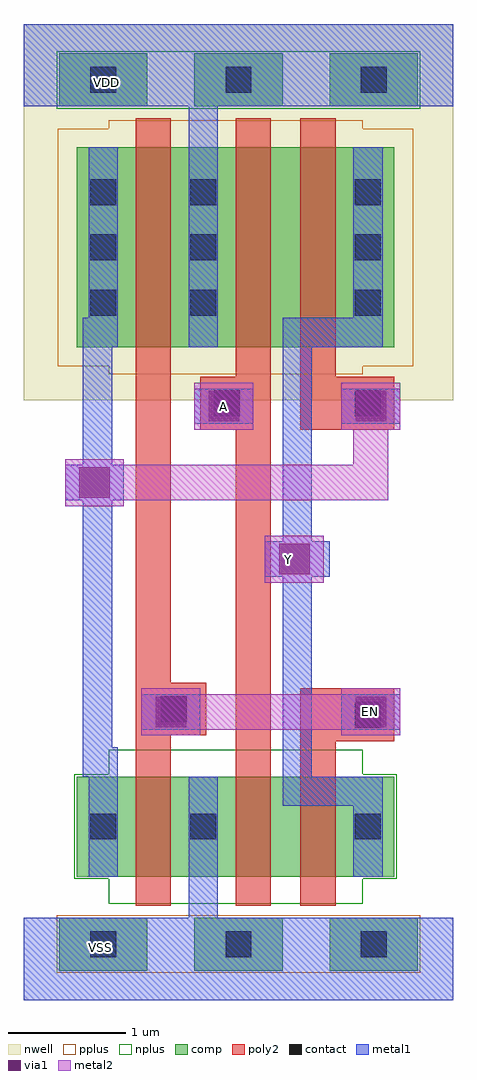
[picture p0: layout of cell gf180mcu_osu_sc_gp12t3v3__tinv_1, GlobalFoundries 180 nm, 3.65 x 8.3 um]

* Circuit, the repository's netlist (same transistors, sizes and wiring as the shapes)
* Copyright 2022 Google LLC
*
* Licensed under the Apache License, Version 2.0 (the "License");
* you may not use this file except in compliance with the License.
* You may obtain a copy of the License at
*
*      http://www.apache.org/licenses/LICENSE-2.0
*
* Unless required by applicable law or agreed to in writing, software
* distributed under the License is distributed on an "AS IS" BASIS,
* WITHOUT WARRANTIES OR CONDITIONS OF ANY KIND, either express or implied.
* See the License for the specific language governing permissions and
* limitations under the License.

* NGSPICE file created from gf180mcu_osu_sc_gp12t3v3__tinv_1.ext - technology: gf180mcuC

.subckt gf180mcu_osu_sc_gp12t3v3__tinv_1 A Y EN VDD VSS
X0 Y EN a_42_21# VSS nfet_03p3 w=0.85u l=0.3u
X1 Y a_9_21# a_42_111# VDD pfet_03p3 w=1.7u l=0.3u
X2 a_42_111# A VDD VDD pfet_03p3 w=1.7u l=0.3u
X3 VDD EN a_9_21# VDD pfet_03p3 w=1.7u l=0.3u
X4 VSS EN a_9_21# VSS nfet_03p3 w=0.85u l=0.3u
X5 a_42_21# A VSS VSS nfet_03p3 w=0.85u l=0.3u
.ends

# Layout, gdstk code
import gdstk
lib = gdstk.Library(unit=1e-6, precision=1e-09)
def R(c, l, rs):  # rectangles x0, y0, x1, y1
    for r in rs: c.add(gdstk.rectangle(r[:2], r[2:], *l))
def A(c, l, x, y, w, h, nx, ny, dx, dy):  # array of equal rectangles
    R(c, l, [(x+i*dx, y+j*dy, x+i*dx+w, y+j*dy+h) for i in range(nx) for j in range(ny)])
nwell = (21, 0)
comp = (22, 0)
poly2 = (30, 0)
pplus = (31, 0)
nplus = (32, 0)
contact = (33, 0)
metal1 = (34, 0)
via1 = (35, 0)
metal2 = (36, 0)

gf180mcu_osu_sc_gp12t3v3 = lib.new_cell('gf180mcu_osu_sc_gp12t3v3__tinv_1')
R(gf180mcu_osu_sc_gp12t3v3, nwell, [(0,5.1,3.65,8.3)])
A(gf180mcu_osu_sc_gp12t3v3, comp, 0.3, 0.25, 0.75, 0.45, 3, 2, 1.15, 7.35)
R(gf180mcu_osu_sc_gp12t3v3, comp, [(0.45,1.05,3.15,1.9), (0.45,5.55,3.15,7.25)])
R(gf180mcu_osu_sc_gp12t3v3, poly2, [(0.95,0.8,1.25,2.25), (1.8,0.8,2.1,4.85), (2.35,0.8,2.65,2.2), (2.35,2.2,3.15,2.65), (0.95,2.25,1.55,2.7), (0.95,2.7,1.25,7.5), (1.5,4.85,2.1,5.3), (2.35,4.85,3.15,5.3), (1.8,5.3,2.1,7.5), (2.35,5.3,2.65,7.5)])
R(gf180mcu_osu_sc_gp12t3v3, pplus, [(0.28,0.23,3.37,0.72), (0.72,5.32,2.88,5.39), (0.29,5.39,3.31,7.41), (0.72,7.41,2.88,7.48)])
R(gf180mcu_osu_sc_gp12t3v3, nplus, [(0.72,0.82,2.88,1.03), (0.43,1.03,3.17,1.92), (0.72,1.92,2.88,2.13), (0.28,7.58,3.37,8.07)])
A(gf180mcu_osu_sc_gp12t3v3, contact, 0.565, 0.365, 0.22, 0.22, 3, 2, 1.15, 7.35)
A(gf180mcu_osu_sc_gp12t3v3, contact, 0.565, 5.82, 0.22, 0.22, 1, 3, 0, 0.47)
A(gf180mcu_osu_sc_gp12t3v3, contact, 1.415, 5.82, 0.22, 0.22, 1, 3, 0, 0.47)
A(gf180mcu_osu_sc_gp12t3v3, contact, 2.815, 5.82, 0.22, 0.22, 1, 3, 0, 0.47)
R(gf180mcu_osu_sc_gp12t3v3, contact, [(0.565,1.365,0.785,1.585), (1.415,1.365,1.635,1.585), (2.815,1.365,3.035,1.585), (2.815,2.315,3.035,2.535), (1.165,2.365,1.385,2.585), (1.615,4.965,1.835,5.185), (2.815,4.965,3.035,5.185)])
R(gf180mcu_osu_sc_gp12t3v3, metal1, [(0,0,3.65,0.7), (1.4,0.7,1.65,1.9), (0.55,1.05,0.8,1.9), (2.8,1.05,3.05,1.65), (2.2,1.65,3.05,1.9), (0.5,1.9,0.8,2.15), (2.2,1.9,2.45,3.6), (0.5,2.15,0.75,4.25), (1,2.3,1.5,2.6), (2.7,2.3,3.2,2.6), (2.05,3.6,2.6,3.9), (2.2,3.9,2.45,5.55), (0.35,4.25,0.85,4.55), (0.5,4.55,0.75,5.55), (1.45,4.9,1.95,5.2), (2.7,4.9,3.2,5.2), (0.5,5.55,0.8,5.8), (1.4,5.55,1.65,7.6), (2.2,5.55,3.05,5.8), (0.55,5.8,0.8,7.25), (2.8,5.8,3.05,7.25), (0,7.6,3.65,8.3)])
R(gf180mcu_osu_sc_gp12t3v3, via1, [(1.12,2.32,1.38,2.58), (2.82,2.32,3.08,2.58), (2.17,3.62,2.43,3.88), (0.47,4.27,0.73,4.53), (1.57,4.92,1.83,5.18), (2.82,4.92,3.08,5.18)])
R(gf180mcu_osu_sc_gp12t3v3, metal2, [(1,2.25,1.5,2.3), (2.7,2.25,3.2,2.3), (1,2.3,3.2,2.6), (1,2.6,1.5,2.65), (2.7,2.6,3.2,2.65), (2.05,3.55,2.55,3.95), (0.35,4.2,0.85,4.25), (0.35,4.25,3.1,4.55), (0.35,4.55,0.85,4.6), (2.8,4.55,3.1,4.85), (1.45,4.85,1.95,5.25), (2.7,4.85,3.2,5.25)])
gf180mcu_osu_sc_gp12t3v3.add(gdstk.Label('A', (1.7,5.05), layer=36, texttype=10))
gf180mcu_osu_sc_gp12t3v3.add(gdstk.Label('Y', (2.25,3.75), layer=36, texttype=10))
gf180mcu_osu_sc_gp12t3v3.add(gdstk.Label('EN', (2.95,2.45), layer=36, texttype=10))
gf180mcu_osu_sc_gp12t3v3.add(gdstk.Label('VDD', (0.7,7.8), layer=34, texttype=10))
gf180mcu_osu_sc_gp12t3v3.add(gdstk.Label('VSS', (0.65,0.45), layer=34, texttype=10))

lib.write_gds('gf180mcu_osu_sc_gp12t3v3__tinv_1.gds')
